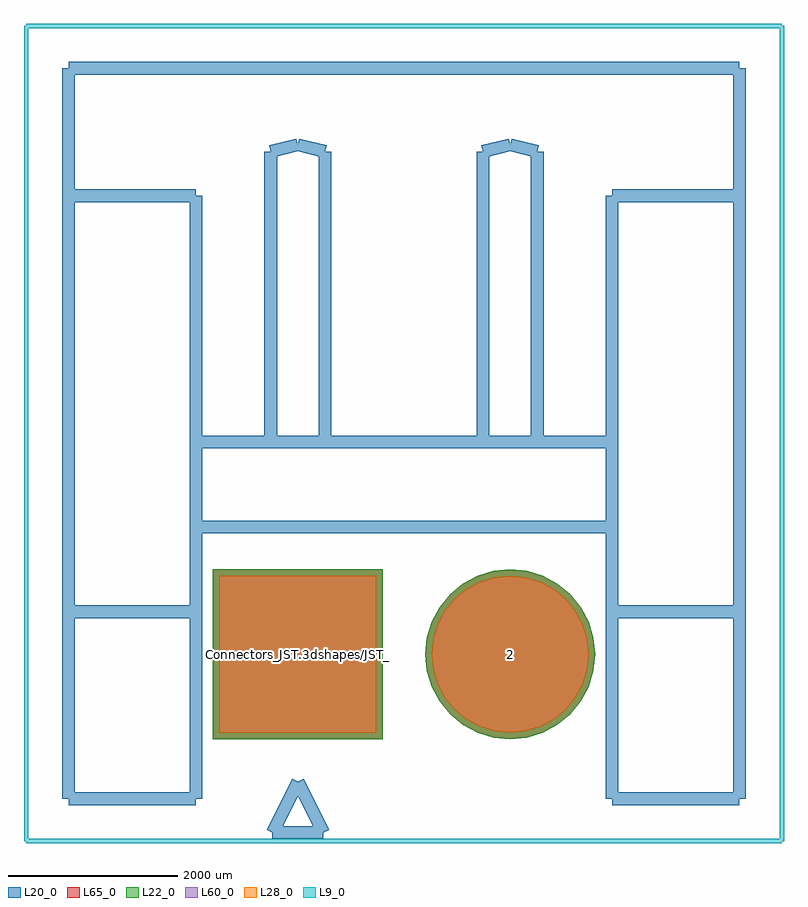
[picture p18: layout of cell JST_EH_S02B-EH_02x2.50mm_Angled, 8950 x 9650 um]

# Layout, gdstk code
import gdstk
lib = gdstk.Library(unit=1e-6, precision=1e-09)
def R(c, l, rs):  # rectangles x0, y0, x1, y1
    for r in rs: c.add(gdstk.rectangle(r[:2], r[2:], *l))
def P(c, l, *ps):  # polygons
    for p in ps: c.add(gdstk.Polygon(p, *l))
L9_0 = (9, 0)
L20_0 = (20, 0)
L22_0 = (22, 0)
L28_0 = (28, 0)
L60_0 = (60, 0)
L65_0 = (65, 0)

jst_eh_s02b_eh_02x2_50mm = lib.new_cell('JST_EH_S02B-EH_02x2.50mm_Angled')
R(jst_eh_s02b_eh_02x2_50mm, L22_0, [(-1000,-1000,1000,1000)])
P(jst_eh_s02b_eh_02x2_50mm, L22_0, [(3500,0),(3480.785,195.09),(3423.88,382.683),(3331.47,555.57),(3207.107,707.107),(3055.57,831.47),(2882.683,923.88),(2695.09,980.785),(2500,1000),(2304.91,980.785),(2117.317,923.88),(1944.43,831.47),(1792.893,707.107),(1668.53,555.57),(1576.12,382.683),(1519.215,195.09),(1500,0),(1519.215,-195.09),(1576.12,-382.683),(1668.53,-555.57),(1792.893,-707.107),(1944.43,-831.47),(2117.317,-923.88),(2304.91,-980.785),(2500,-1000),(2695.09,-980.785),(2882.683,-923.88),(3055.57,-831.47),(3207.107,-707.107),(3331.47,-555.57),(3423.88,-382.683),(3480.785,-195.09)])
R(jst_eh_s02b_eh_02x2_50mm, L28_0, [(-925,-925,925,925)])
P(jst_eh_s02b_eh_02x2_50mm, L28_0, [(3425,0),(3407.226,180.459),(3354.589,353.982),(3269.109,513.902),(3154.074,654.074),(3013.902,769.109),(2853.982,854.589),(2680.459,907.226),(2500,925),(2319.541,907.226),(2146.018,854.589),(1986.098,769.109),(1845.926,654.074),(1730.891,513.902),(1645.411,353.982),(1592.774,180.459),(1575,0),(1592.774,-180.459),(1645.411,-353.982),(1730.891,-513.902),(1845.926,-654.074),(1986.098,-769.109),(2146.018,-854.589),(2319.541,-907.226),(2500,-925),(2680.459,-907.226),(2853.982,-854.589),(3013.902,-769.109),(3154.074,-654.074),(3269.109,-513.902),(3354.589,-353.982),(3407.226,-180.459)])
R(jst_eh_s02b_eh_02x2_50mm, L60_0, [(-925,-925,925,925)])
P(jst_eh_s02b_eh_02x2_50mm, L60_0, [(3425,0),(3407.226,180.459),(3354.589,353.982),(3269.109,513.902),(3154.074,654.074),(3013.902,769.109),(2853.982,854.589),(2680.459,907.226),(2500,925),(2319.541,907.226),(2146.018,854.589),(1986.098,769.109),(1845.926,654.074),(1730.891,513.902),(1645.411,353.982),(1592.774,180.459),(1575,0),(1592.774,-180.459),(1645.411,-353.982),(1730.891,-513.902),(1845.926,-654.074),(1986.098,-769.109),(2146.018,-854.589),(2319.541,-907.226),(2500,-925),(2680.459,-907.226),(2853.982,-854.589),(3013.902,-769.109),(3154.074,-654.074),(3269.109,-513.902),(3354.589,-353.982),(3407.226,-180.459)])
R(jst_eh_s02b_eh_02x2_50mm, L65_0, [(-1000,-1000,1000,1000)])
P(jst_eh_s02b_eh_02x2_50mm, L65_0, [(3500,0),(3480.785,195.09),(3423.88,382.683),(3331.47,555.57),(3207.107,707.107),(3055.57,831.47),(2882.683,923.88),(2695.09,980.785),(2500,1000),(2304.91,980.785),(2117.317,923.88),(1944.43,831.47),(1792.893,707.107),(1668.53,555.57),(1576.12,382.683),(1519.215,195.09),(1500,0),(1519.215,-195.09),(1576.12,-382.683),(1668.53,-555.57),(1792.893,-707.107),(1944.43,-831.47),(2117.317,-923.88),(2304.91,-980.785),(2500,-1000),(2695.09,-980.785),(2882.683,-923.88),(3055.57,-831.47),(3207.107,-707.107),(3331.47,-555.57),(3423.88,-382.683),(3480.785,-195.09)])
jst_eh_s02b_eh_02x2_50mm.add(gdstk.FlexPath([(5700,7400),(-3200,7400)], 50, ends="flush", simple_path=True, layer=9, datatype=0))  # L9_0
jst_eh_s02b_eh_02x2_50mm.add(gdstk.FlexPath([(5700,-2200),(5700,7400)], 50, ends="flush", simple_path=True, layer=9, datatype=0))  # L9_0
jst_eh_s02b_eh_02x2_50mm.add(gdstk.FlexPath([(-3200,-2200),(5700,-2200)], 50, ends="flush", simple_path=True, layer=9, datatype=0))  # L9_0
jst_eh_s02b_eh_02x2_50mm.add(gdstk.FlexPath([(-3200,7400),(-3200,-2200)], 50, ends="flush", simple_path=True, layer=9, datatype=0))  # L9_0
jst_eh_s02b_eh_02x2_50mm.add(gdstk.FlexPath([(300,-2100),(0,-1500)], 149.998, ends="flush", simple_path=True, layer=20, datatype=0))  # L20_0
jst_eh_s02b_eh_02x2_50mm.add(gdstk.FlexPath([(-300,-2100),(300,-2100)], 149.998, ends="flush", simple_path=True, layer=20, datatype=0))  # L20_0
jst_eh_s02b_eh_02x2_50mm.add(gdstk.FlexPath([(0,-1500),(-300,-2100)], 149.998, ends="flush", simple_path=True, layer=20, datatype=0))  # L20_0
jst_eh_s02b_eh_02x2_50mm.add(gdstk.FlexPath([(2820,2500),(2500,2500)], 149.998, ends="flush", simple_path=True, layer=20, datatype=0))  # L20_0
jst_eh_s02b_eh_02x2_50mm.add(gdstk.FlexPath([(2820,5920),(2820,2500)], 149.998, ends="flush", simple_path=True, layer=20, datatype=0))  # L20_0
jst_eh_s02b_eh_02x2_50mm.add(gdstk.FlexPath([(2500,6000),(2820,5920)], 149.998, ends="flush", simple_path=True, layer=20, datatype=0))  # L20_0
jst_eh_s02b_eh_02x2_50mm.add(gdstk.FlexPath([(2180,5920),(2500,6000)], 149.998, ends="flush", simple_path=True, layer=20, datatype=0))  # L20_0
jst_eh_s02b_eh_02x2_50mm.add(gdstk.FlexPath([(2180,2500),(2180,5920)], 149.998, ends="flush", simple_path=True, layer=20, datatype=0))  # L20_0
jst_eh_s02b_eh_02x2_50mm.add(gdstk.FlexPath([(2500,2500),(2180,2500)], 149.998, ends="flush", simple_path=True, layer=20, datatype=0))  # L20_0
jst_eh_s02b_eh_02x2_50mm.add(gdstk.FlexPath([(320,2500),(0,2500)], 149.998, ends="flush", simple_path=True, layer=20, datatype=0))  # L20_0
jst_eh_s02b_eh_02x2_50mm.add(gdstk.FlexPath([(320,5920),(320,2500)], 149.998, ends="flush", simple_path=True, layer=20, datatype=0))  # L20_0
jst_eh_s02b_eh_02x2_50mm.add(gdstk.FlexPath([(0,6000),(320,5920)], 149.998, ends="flush", simple_path=True, layer=20, datatype=0))  # L20_0
jst_eh_s02b_eh_02x2_50mm.add(gdstk.FlexPath([(-320,5920),(0,6000)], 149.998, ends="flush", simple_path=True, layer=20, datatype=0))  # L20_0
jst_eh_s02b_eh_02x2_50mm.add(gdstk.FlexPath([(-320,2500),(-320,5920)], 149.998, ends="flush", simple_path=True, layer=20, datatype=0))  # L20_0
jst_eh_s02b_eh_02x2_50mm.add(gdstk.FlexPath([(0,2500),(-320,2500)], 149.998, ends="flush", simple_path=True, layer=20, datatype=0))  # L20_0
jst_eh_s02b_eh_02x2_50mm.add(gdstk.FlexPath([(-1200,1500),(3700,1500)], 149.998, ends="flush", simple_path=True, layer=20, datatype=0))  # L20_0
jst_eh_s02b_eh_02x2_50mm.add(gdstk.FlexPath([(-1200,2500),(3700,2500)], 149.998, ends="flush", simple_path=True, layer=20, datatype=0))  # L20_0
jst_eh_s02b_eh_02x2_50mm.add(gdstk.FlexPath([(3700,500),(5200,500)], 149.998, ends="flush", simple_path=True, layer=20, datatype=0))  # L20_0
jst_eh_s02b_eh_02x2_50mm.add(gdstk.FlexPath([(3700,5400),(3700,500)], 149.998, ends="flush", simple_path=True, layer=20, datatype=0))  # L20_0
jst_eh_s02b_eh_02x2_50mm.add(gdstk.FlexPath([(5200,5400),(3700,5400)], 149.998, ends="flush", simple_path=True, layer=20, datatype=0))  # L20_0
jst_eh_s02b_eh_02x2_50mm.add(gdstk.FlexPath([(-1200,500),(-2700,500)], 149.998, ends="flush", simple_path=True, layer=20, datatype=0))  # L20_0
jst_eh_s02b_eh_02x2_50mm.add(gdstk.FlexPath([(-1200,5400),(-1200,500)], 149.998, ends="flush", simple_path=True, layer=20, datatype=0))  # L20_0
jst_eh_s02b_eh_02x2_50mm.add(gdstk.FlexPath([(-2700,5400),(-1200,5400)], 149.998, ends="flush", simple_path=True, layer=20, datatype=0))  # L20_0
jst_eh_s02b_eh_02x2_50mm.add(gdstk.FlexPath([(3700,-1700),(3700,500)], 149.998, ends="flush", simple_path=True, layer=20, datatype=0))  # L20_0
jst_eh_s02b_eh_02x2_50mm.add(gdstk.FlexPath([(5200,-1700),(3700,-1700)], 149.998, ends="flush", simple_path=True, layer=20, datatype=0))  # L20_0
jst_eh_s02b_eh_02x2_50mm.add(gdstk.FlexPath([(5200,6900),(5200,-1700)], 149.998, ends="flush", simple_path=True, layer=20, datatype=0))  # L20_0
jst_eh_s02b_eh_02x2_50mm.add(gdstk.FlexPath([(-2700,6900),(5200,6900)], 149.998, ends="flush", simple_path=True, layer=20, datatype=0))  # L20_0
jst_eh_s02b_eh_02x2_50mm.add(gdstk.FlexPath([(-2700,-1700),(-2700,6900)], 149.998, ends="flush", simple_path=True, layer=20, datatype=0))  # L20_0
jst_eh_s02b_eh_02x2_50mm.add(gdstk.FlexPath([(-1200,-1700),(-2700,-1700)], 149.998, ends="flush", simple_path=True, layer=20, datatype=0))  # L20_0
jst_eh_s02b_eh_02x2_50mm.add(gdstk.FlexPath([(-1200,500),(-1200,-1700)], 149.998, ends="flush", simple_path=True, layer=20, datatype=0))  # L20_0
jst_eh_s02b_eh_02x2_50mm.add(gdstk.Label('Connectors_JST.3dshapes/JST_EH_S02B-EH_02x2.50mm_Angled.wrl', (0,0), layer=12, texttype=0))
jst_eh_s02b_eh_02x2_50mm.add(gdstk.Label('2', (2500,0), layer=28, texttype=0))
jst_eh_s02b_eh_02x2_50mm.add(gdstk.Label('1', (0,0), layer=28, texttype=0))
jst_eh_s02b_eh_02x2_50mm.add(gdstk.Label('type', (0,-6000), layer=9, texttype=0))
jst_eh_s02b_eh_02x2_50mm.add(gdstk.Label('devicename', (0,-4000), layer=9, texttype=0))

lib.write_gds('JST_EH_S02B-EH_02x2.50mm_Angled.gds')
